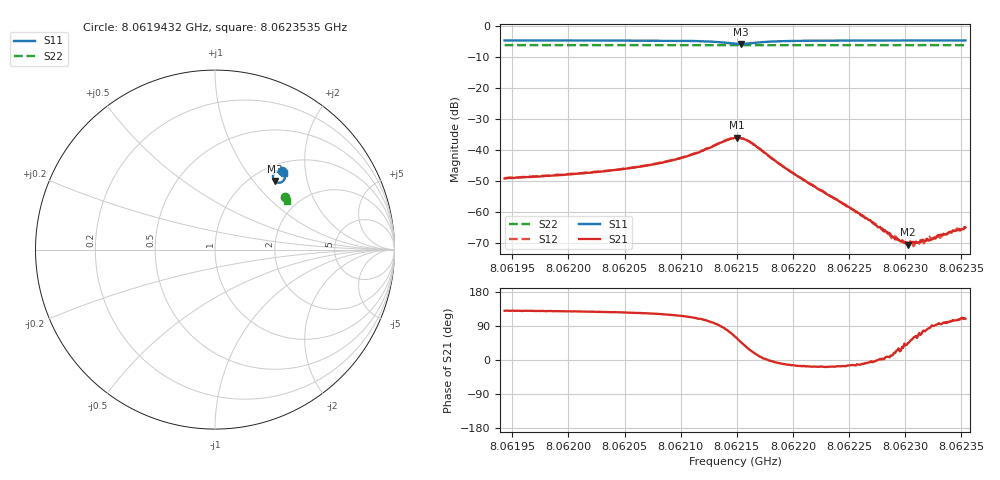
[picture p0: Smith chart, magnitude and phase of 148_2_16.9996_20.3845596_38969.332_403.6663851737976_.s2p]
#  HZ  S  RI  R  50.00
! Rohde & Schwarz Vector Network Analyzer
! Rohde-Schwarz,ZNB20-2Port,1311601062101988,3.16
! Created: UTC 3/20/2024, 10:58:43 PM
! freq[Hz]  re:S11  im:S11  re:S21  im:S21  re:S12  im:S12  re:S22  im:S22
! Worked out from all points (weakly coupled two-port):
!   401 points, 8.0619432 GHz to 8.0623535 GHz, reference 50 ohm
!   highest |S21| = -36.10 dB at 8.0621504 GHz (marker M1); lowest = -70.5 dB at 8.0623022 GHz (marker M2)
!   lowest |S11| = -5.9 dB at 8.0621535 GHz (marker M3), VSWR 3.05, Z = 62.9 + j64.6 ohm
!   |S11| at or under -10 dB: nowhere
!   |S22| runs from -6.4 to -6.3 dB; largest |S21 - S12| = 0.0011
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8.06194325e9  0.3727 0.4387  -0.00223 0.00266  -0.00208 0.00281  0.3873 0.2918
8.06201197e9  0.3784 0.433  -0.00258 0.00332  -0.00238 0.00352  0.3897 0.2883
8.06205402e9  0.383 0.4275  -0.0029 0.00414  -0.00268 0.00435  0.3912 0.286
8.06208069e9  0.3864 0.4217  -0.00314 0.00521  -0.00288 0.00546  0.392 0.2847
8.06210941e9  0.3897 0.4093  -0.00321 0.00769  -0.00279 0.00797  0.3929 0.2826
8.06214019e9  0.371 0.376  0.00228 0.0139  0.00306 0.014  0.3926 0.2802
8.06214839e9  0.348 0.3736  0.00731 0.0137  0.00825 0.0133  0.3917 0.28
8.06215044e9  0.3417 0.3757  0.00869 0.013  0.0096 0.0125  0.3916 0.28
8.06215352e9  0.333 0.3817  0.0105 0.0114  0.0112 0.0108  0.3913 0.2804
8.06216378e9  0.323 0.4108  0.0118 0.00477  0.0122 0.00392  0.3918 0.2813
8.06219147e9  0.3504 0.439  0.00525 -0.000964  0.00523 -0.00133  0.3942 0.2808
8.06221711e9  0.364 0.4389  0.00259 -0.000827  0.00259 -0.000958  0.3956 0.2794
8.06224891e9  0.3723 0.4362  0.00119 -0.000306  0.00122 -0.000383  0.3969 0.2778
8.06227558e9  0.3766 0.4337  0.000571 5.03e-06  0.000599 -5.96e-05  0.3979 0.2764
8.06228584e9  0.3778 0.4331  0.000459 5.49e-05  0.000447 5.5e-05  0.3983 0.2757
8.06228892e9  0.3782 0.433  0.000389 9.15e-05  0.000386 7.9e-05  0.3982 0.2755
8.06230225e9  0.3798 0.4317  0.000214 0.000211  0.000238 0.000183  0.3988 0.2749
8.0623084e9  0.3805 0.4313  0.000151 0.000275  0.000176 0.000251  0.3991 0.2746
8.06232276e9  0.3819 0.4303  1.19e-05 0.000363  3.8e-05 0.000365  0.3996 0.2738
8.06232994e9  0.3826 0.4298  -5.42e-05 0.000425  -4.53e-06 0.000417  0.3998 0.2735
8.0623443e9  0.3839 0.4289  -0.000127 0.000485  -0.000132 0.000478  0.4 0.2727
8.06235354e9  0.3847 0.4283  -0.000182 0.000536  -0.000178 0.000531  0.4006 0.2723
